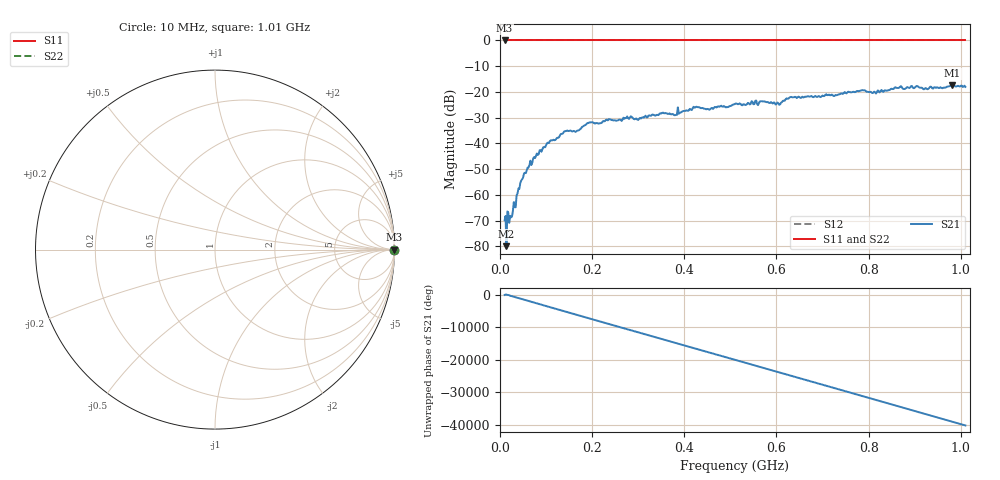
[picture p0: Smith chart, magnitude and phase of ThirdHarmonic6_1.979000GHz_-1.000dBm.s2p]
! 8/16/2025 11:48:06 PM
! C:\ANRITSUVNA\TEMP\TEMP.S2P
! CHANNEL.1
! TR.MEASUREMENT
! RAW.DATA
! RF.CORRECTION.OFF
! AVERAGING.OFF
! IF.BANDWIDTH: 5KHZ
! SWEEPTYPE:  FREQ.SWEEP(Linear)
! Reference Plane Port Info
! PORT:  PORT1  PORT2
! DISTANCE:  0  m  0  m
! TIME:  0  s  0  s
! PHASE.OFFSET:  0  deg.  0  deg.
! LOSS:  0  dB  0  dB
! REF.LOSS:  0  dB  0  dB
! REF.FREQ:  0  Hz  0  Hz
! Power Info
! POWER:  -20  dBm  -20  dBm
! EFF.POWER:  -20  dBm  -20  dBm
! SOURCE.ATTEN:  0  dB  0  dB
! TEST.ATTEN:  0  dB  0  dB
# GHZ S RI R 50.0
! FREQ.GHZ  S11RE  S11IM  S21RE  S21IM  S12RE  S12IM  S22RE  S22IM
!; PortSelection: Port_12
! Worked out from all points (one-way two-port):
!   501 points, 10 MHz to 1.01 GHz, reference 50 ohm
!   highest |S21| = -17.44 dB at 982 MHz (marker M1); lowest = -80.0 dB at 14 MHz (marker M2)
!   lowest |S11| = 0.0 dB at 10 MHz (marker M3)
!   |S11| at or under -10 dB: nowhere
!   |S22| runs from 0.0 to 0.0 dB; largest |S21 - S12| = 1.1
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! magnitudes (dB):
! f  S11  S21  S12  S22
! 10 MHz  0.0  -69.9  0.0  0.0
! 14 MHz  0.0  -80.0  0.0  0.0
! 18 MHz  0.0  -66.9  0.0  0.0
! 20 MHz  0.0  -70.9  0.0  0.0
! 24 MHz  0.0  -68.8  0.0  0.0
! 48 MHz  0.0  -54.0  0.0  0.0
! 76 MHz  0.0  -45.7  0.0  0.0
! 106 MHz  0.0  -39.9  0.0  0.0
! 142 MHz  0.0  -35.3  0.0  0.0
! 178 MHz  0.0  -33.6  0.0  0.0
! 196 MHz  0.0  -31.8  0.0  0.0
! 344 MHz  0.0  -29.0  0.0  0.0
! 380 MHz  0.0  -29.1  0.0  0.0
! 424 MHz  0.0  -26.0  0.0  0.0
! 452 MHz  0.0  -26.7  0.0  0.0
! 510 MHz  0.0  -24.7  0.0  0.0
! 604 MHz  0.0  -24.4  0.0  0.0
! 632 MHz  0.0  -21.9  0.0  0.0
! 678 MHz  0.0  -22.0  0.0  0.0
! 844 MHz  0.0  -19.3  0.0  0.0
! 982 MHz  0.0  -17.4  0.0  0.0
! 1.01 GHz  0.0  -18.0  0.0  0.0
